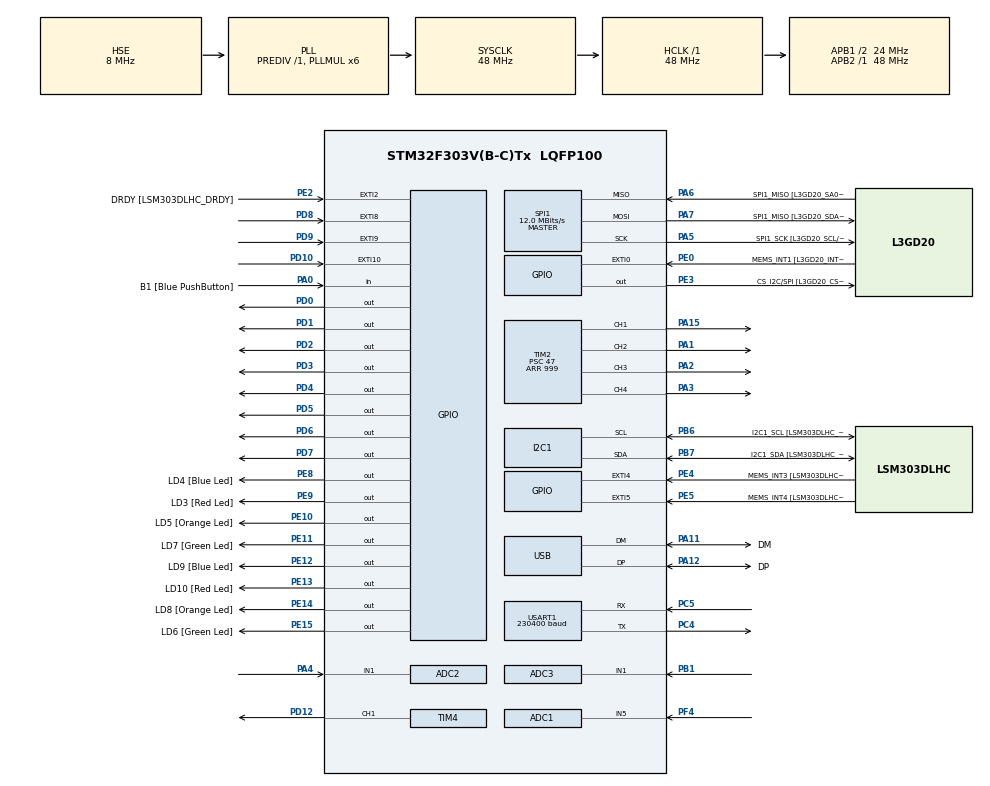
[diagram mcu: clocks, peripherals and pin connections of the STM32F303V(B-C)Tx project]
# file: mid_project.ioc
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ADC1.Channel-1\#ChannelRegularConversion=ADC_CHANNEL_5
ADC1.NbrOfConversionFlag=1
ADC1.Offset-1\#ChannelRegularConversion=0
ADC1.OffsetNumber-1\#ChannelRegularConversion=ADC_OFFSET_NONE
ADC1.Rank-1\#ChannelRegularConversion=1
ADC1.Resolution=ADC_RESOLUTION_10B
ADC1.SamplingTime-1\#ChannelRegularConversion=ADC_SAMPLETIME_601CYCLES_5
ADC1.SamplingTimeOPAMP-1\#ChannelRegularConversion=ADC_SAMPLETIME_19CYCLES_5
ADC1.master=1
ADC2.Channel-0\#ChannelRegularConversion=ADC_CHANNEL_1
ADC2.NbrOfConversionFlag=1
ADC2.Offset-0\#ChannelRegularConversion=0
ADC2.OffsetNumber-0\#ChannelRegularConversion=ADC_OFFSET_NONE
ADC2.Rank-0\#ChannelRegularConversion=1
ADC2.Resolution=ADC_RESOLUTION_10B
ADC2.SamplingTime-0\#ChannelRegularConversion=ADC_SAMPLETIME_601CYCLES_5
ADC2.SamplingTimeOPAMP-0\#ChannelRegularConversion=ADC_SAMPLETIME_19CYCLES_5
ADC3.Channel-0\#ChannelRegularConversion=ADC_CHANNEL_1
ADC3.NbrOfConversionFlag=1
ADC3.Offset-0\#ChannelRegularConversion=0
ADC3.OffsetNumber-0\#ChannelRegularConversion=ADC_OFFSET_NONE
ADC3.Rank-0\#ChannelRegularConversion=1
ADC3.Resolution=ADC_RESOLUTION_10B
ADC3.SamplingTime-0\#ChannelRegularConversion=ADC_SAMPLETIME_601CYCLES_5
ADC3.SamplingTimeOPAMP-0\#ChannelRegularConversion=ADC_SAMPLETIME_19CYCLES_5
ADC3.master=1
I2C1.Timing=0x2000090E
I2C1.Timing-I2C=0x2000090E
Mcu.Family=STM32F3
Mcu.Name=STM32F303V(B-C)Tx
Mcu.Package=LQFP100
NVIC.ADC1_2_IRQn=true\:1\:0\:true\:false\:true\:true\:true\:true
NVIC.ADC3_IRQn=true\:1\:0\:true\:false\:true\:true\:true\:true
NVIC.EXTI15_10_IRQn=true\:0\:0\:true\:false\:true\:true\:true\:true
NVIC.EXTI9_5_IRQn=true\:0\:0\:true\:false\:true\:true\:true\:true
NVIC.PriorityGroup=NVIC_PRIORITYGROUP_2
NVIC.TIM1_BRK_TIM15_IRQn=true\:1\:0\:true\:false\:true\:true\:true\:true
NVIC.TIM1_CC_IRQn=true\:1\:0\:true\:false\:true\:true\:true\:true
NVIC.TIM1_TRG_COM_TIM17_IRQn=true\:1\:0\:true\:false\:true\:true\:true\:true
NVIC.TIM1_UP_TIM16_IRQn=true\:1\:0\:true\:false\:true\:true\:true\:true
NVIC.TIM3_IRQn=true\:0\:0\:true\:false\:true\:true\:true\:true
NVIC.USART1_IRQn=true\:0\:0\:false\:false\:true\:true\:true\:true
NVIC.USB_LP_CAN_RX0_IRQn=true\:0\:0\:false\:false\:true\:true\:true\:true
PA0.GPIO_Label=B1 [Blue PushButton]
PA0.Signal=GPIO_Input
PA1.Signal=S_TIM2_CH2
PA11.GPIO_Label=DM
PA11.Mode=Device
PA11.Signal=USB_DM
PA12.GPIO_Label=DP
PA12.Mode=Device
PA12.Signal=USB_DP
PA13.GPIO_Label=SWDIO
PA13.Mode=Serial_Wire
PA13.Signal=SYS_JTMS-SWDIO
PA14.GPIO_Label=SWCLK
PA14.Mode=Serial_Wire
PA14.Signal=SYS_JTCK-SWCLK
PA15.Signal=S_TIM2_CH1_ETR
PA2.Signal=S_TIM2_CH3
PA3.Signal=S_TIM2_CH4
PA4.Mode=IN1-Single-Ended
PA4.Signal=ADC2_IN1
PA5.GPIO_Label=SPI1_SCK [L3GD20_SCL/SPC]
PA5.Mode=Full_Duplex_Master
PA5.Signal=SPI1_SCK
PA6.GPIO_Label=SPI1_MISO [L3GD20_SA0/SDO]
PA6.Mode=Full_Duplex_Master
PA6.Signal=SPI1_MISO
PA7.GPIO_Label=SPI1_MISO [L3GD20_SDA/SDI/SDO]
PA7.Mode=Full_Duplex_Master
PA7.Signal=SPI1_MOSI
PB1.Mode=IN1-Single-Ended
PB1.Signal=ADC3_IN1
PB3.GPIO_Label=SWO
PB3.Signal=SYS_JTDO-TRACESWO
PB6.GPIO_Label=I2C1_SCL [LSM303DLHC_SCL]
PB6.GPIO_Pu=GPIO_PULLUP
PB6.Mode=I2C
PB6.Signal=I2C1_SCL
PB7.GPIO_Label=I2C1_SDA [LSM303DLHC_SDA]
PB7.GPIO_Pu=GPIO_PULLUP
PB7.Mode=I2C
PB7.Signal=I2C1_SDA
PC14-OSC32_IN.GPIO_Label=OSC32_IN
PC14-OSC32_IN.Signal=RCC_OSC32_IN
PC15-OSC32_OUT.GPIO_Label=OSC32_OUT
PC15-OSC32_OUT.Signal=RCC_OSC32_OUT
PC4.Mode=Asynchronous
PC4.Signal=USART1_TX
PC5.Mode=Asynchronous
PC5.Signal=USART1_RX
PD0.Signal=GPIO_Output
PD1.Signal=GPIO_Output
PD10.GPIO_ModeDefaultEXTI=GPIO_MODE_IT_FALLING
PD10.GPIO_PuPd=GPIO_PULLUP
PD10.Signal=GPXTI10
PD12.Signal=S_TIM4_CH1
PD2.Signal=GPIO_Output
PD3.Signal=GPIO_Output
PD4.Signal=GPIO_Output
PD5.Signal=GPIO_Output
PD6.Signal=GPIO_Output
PD7.Signal=GPIO_Output
PD8.GPIO_ModeDefaultEXTI=GPIO_MODE_IT_FALLING
PD8.GPIO_PuPd=GPIO_PULLUP
PD8.Signal=GPXTI8
PD9.GPIO_ModeDefaultEXTI=GPIO_MODE_IT_FALLING
PD9.GPIO_PuPd=GPIO_PULLUP
PD9.Signal=GPXTI9
PE0.GPIO_Label=MEMS_INT1 [L3GD20_INT1]
PE0.GPIO_ModeDefaultEXTI=GPIO_MODE_EVT_RISING
PE0.Signal=GPXTI0
PE10.GPIO_Label=LD5 [Orange Led]
PE10.Signal=GPIO_Output
PE11.GPIO_Label=LD7 [Green Led]
PE11.Signal=GPIO_Output
PE12.GPIO_Label=LD9 [Blue Led]
PE12.Signal=GPIO_Output
PE13.GPIO_Label=LD10 [Red Led]
PE13.Signal=GPIO_Output
PE14.GPIO_Label=LD8 [Orange Led]
PE14.Signal=GPIO_Output
PE15.GPIO_Label=LD6 [Green Led]
PE15.Signal=GPIO_Output
PE2.GPIO_Label=DRDY [LSM303DLHC_DRDY]
PE2.GPIO_ModeDefaultEXTI=GPIO_MODE_EVT_RISING
PE2.Signal=GPXTI2
PE3.GPIO_Label=CS_I2C/SPI [L3GD20_CS_I2C/SPI]
PE3.Signal=GPIO_Output
PE4.GPIO_Label=MEMS_INT3 [LSM303DLHC_INT1]
PE4.GPIO_ModeDefaultEXTI=GPIO_MODE_EVT_RISING
PE4.Signal=GPXTI4
PE5.GPIO_Label=MEMS_INT4 [LSM303DLHC_INT2]
PE5.GPIO_ModeDefaultEXTI=GPIO_MODE_EVT_RISING
PE5.Signal=GPXTI5
PE8.GPIO_Label=LD4 [Blue Led]
PE8.Signal=GPIO_Output
PE9.GPIO_Label=LD3 [Red Led]
PE9.Signal=GPIO_Output
PF0-OSC_IN.GPIO_Label=OSC_IN
PF0-OSC_IN.Mode=HSE-External-Clock-Source
PF0-OSC_IN.Signal=RCC_OSC_IN
PF1-OSC_OUT.GPIO_Label=OSC_OUT
PF1-OSC_OUT.Signal=RCC_OSC_OUT
PF4.Mode=IN5-Single-Ended
PF4.Signal=ADC1_IN5
ProjectManager.HeapSize=0x200
ProjectManager.StackSize=0x400
ProjectManager.TargetToolchain=STM32CubeIDE
RCC.AHBFreq_Value=48000000
RCC.APB1CLKDivider=RCC_HCLK_DIV2
RCC.APB1Freq_Value=24000000
RCC.APB1TimFreq_Value=48000000
RCC.APB2Freq_Value=48000000
RCC.APB2TimFreq_Value=48000000
RCC.CortexFreq_Value=48000000
RCC.HCLKFreq_Value=48000000
RCC.HSE_VALUE=8000000
RCC.HSI_VALUE=8000000
RCC.LSE_VALUE=32768
RCC.PLLMUL=RCC_PLL_MUL6
RCC.SYSCLKFreq_VALUE=48000000
RCC.SYSCLKSourceVirtual=RCC_SYSCLKSOURCE_PLLCLK
RCC.USBFreq_Value=48000000
RTC.AsynchPrediv=39
RTC.Format=RTC_FORMAT_BIN
RTC.SynchPrediv=999
SH.S_TIM2_CH1_ETR.0=TIM2_CH1,PWM Generation1 CH1
SH.S_TIM2_CH2.0=TIM2_CH2,PWM Generation2 CH2
SH.S_TIM2_CH3.0=TIM2_CH3,PWM Generation3 CH3
SH.S_TIM2_CH4.0=TIM2_CH4,PWM Generation4 CH4
SH.S_TIM4_CH1.0=TIM4_CH1,PWM Generation1 CH1
SPI1.BaudRatePrescaler=SPI_BAUDRATEPRESCALER_4
SPI1.BaudRatePrescaler-Full_Duplex_Master=SPI_BAUDRATEPRESCALER_2
SPI1.CalculateBaudRate=12.0 MBits/s
SPI1.CalculateBaudRate-Full_Duplex_Master=24.0 MBits/s
SPI1.Direction=SPI_DIRECTION_2LINES
SPI1.Mode=SPI_MODE_MASTER
SPI1.Mode-Full_Duplex_Master=SPI_MODE_MASTER
SPI1.VirtualType=VM_MASTER
TIM1.Period=99
TIM1.Prescaler=479
TIM2.Channel-PWM\ Generation1\ CH1=TIM_CHANNEL_1
TIM2.Channel-PWM\ Generation2\ CH2=TIM_CHANNEL_2
TIM2.Channel-PWM\ Generation3\ CH3=TIM_CHANNEL_3
TIM2.Channel-PWM\ Generation4\ CH4=TIM_CHANNEL_4
TIM2.Period=999
TIM2.Prescaler=47
TIM3.Period=10000-1
TIM3.Prescaler=4800-1
TIM4.Channel-PWM\ Generation1\ CH1=TIM_CHANNEL_1
USART1.BaudRate=230400
USART1.VirtualMode-Asynchronous=VM_ASYNC
VP_RTC_VS_RTC_Activate.Mode=RTC_Enabled
VP_RTC_VS_RTC_Calendar.Mode=RTC_Calendar
VP_TIM1_VS_ClockSourceINT.Mode=Internal
VP_TIM2_VS_ClockSourceINT.Mode=Internal
VP_TIM3_VS_ClockSourceINT.Mode=Internal
VP_TIM4_VS_ClockSourceINT.Mode=Internal
board=STM32F3DISCOVERY

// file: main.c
/* USER CODE BEGIN Header */
/**
 ******************************************************************************
 * @file           : main.c
 * @brief          : Main program body
 ******************************************************************************
 * @attention
 *
 * Copyright (c) 2023 STMicroelectronics.
 * All rights reserved.
 *
 * This software is licensed under terms that can be found in the LICENSE file
 * in the root directory of this software component.
 * If no LICENSE file comes with this software, it is provided AS-IS.
 *
 ******************************************************************************
 */
/* USER CODE END Header */
#include "main.h"

/* USER CODE BEGIN Includes */
#include <stdbool.h>
#include "string.h"
#include <stdio.h>

/* USER CODE END Includes */

/* USER CODE BEGIN PTD */

typedef struct {
	GPIO_TypeDef *port;
	uint16_t pin;
} pin_type;

typedef struct {
	pin_type digit_activators[4];
	pin_type BCD_input[4];
	uint32_t digits[4];
	uint32_t number;
} seven_segment_type;

/* USER CODE END PTD */

ADC_HandleTypeDef hadc1;
ADC_HandleTypeDef hadc2;
ADC_HandleTypeDef hadc3;

I2C_HandleTypeDef hi2c1;

RTC_HandleTypeDef hrtc;

SPI_HandleTypeDef hspi1;

TIM_HandleTypeDef htim1;
TIM_HandleTypeDef htim2;
TIM_HandleTypeDef htim3;
TIM_HandleTypeDef htim4;

UART_HandleTypeDef huart1;

PCD_HandleTypeDef hpcd_USB_FS;

void SystemClock_Config(void);
static void MX_GPIO_Init(void);
static void MX_I2C1_Init(void);
static void MX_SPI1_Init(void);
static void MX_USB_PCD_Init(void);
static void MX_TIM2_Init(void);
static void MX_TIM4_Init(void);
static void MX_TIM1_Init(void);
static void MX_ADC1_Init(void);
static void MX_ADC2_Init(void);
static void MX_USART1_UART_Init(void);
static void MX_TIM3_Init(void);
static void MX_ADC3_Init(void);
static void MX_RTC_Init(void);

/* USER CODE BEGIN 0 */
extern FILE *fptr;
extern int wave;
extern int dim_step;
extern int LED_count;
extern seven_segment_type seven_segment;
extern int p_state;

RTC_TimeTypeDef myTime;
RTC_DateTypeDef myDate;
char timestr[30];

int uart_cnt = 0;
int volume_degree = 0;
int LDR_degree = 0;
int buzzer_volume = 12;
int sin_cnt = 0;
int square_cnt = 0;
int triangular_cnt = 200;
int init_LDR;
int threshold = 0;
int warnCount = 0;
int prev_volume_degree = 0;
int critical_LDR_deg;
int time_cnt = 1; // receiving time from python

double vol_buffer[100];
uint8_t vol_buffer_cnt = 0;

double LDR_buffer[50];
uint8_t LDR_buffer_cnt = 0;

char uart_buffer[50];
char ch;

bool volume_start = false;
bool active_buzzer = false;
bool isHigh = false;
bool isInit_LDR = true;
bool isInit_Volume = true;

void choose_wave()
{
	int high = 1000;
	int low = 200;

	switch (wave)
	{
	case 1: // sin wave
		sin_cnt++;
		int y = 800 * sin(sin_cnt / 200) + 900;
		PWM_Change_Tone(y, buzzer_volume);
		if (sin_cnt == 1256)
		{
			sin_cnt = 0;
		}
		break;
	case 2: // square wave
		square_cnt++;
		if (square_cnt % 1500 == 0)
		{
			isHigh = !isHigh;
		}
		if (isHigh)
		{
			PWM_Change_Tone(high, buzzer_volume);

		}
		else
		{
			PWM_Change_Tone(low, buzzer_volume);

		}

		break;
	case 3: // triangular wave
		if (triangular_cnt == high)
		{
			triangular_cnt = low;
		}
		triangular_cnt++;
		PWM_Change_Tone(triangular_cnt, buzzer_volume);

		break;
	}
}

void HAL_TIM_PeriodElapsedCallback(TIM_HandleTypeDef *htim)
{

	if (htim->Instance == TIM1)
	{
		programLoop();
		if (active_buzzer)
		{
			choose_wave();
		}

		HAL_ADC_Start_IT(&hadc2);
		HAL_ADC_Start_IT(&hadc3);
	}
}

void set_threshold()
{
	if(threshold > 200)
	{
		threshold = 200;
	}
	else if(threshold < 0)
	{
		threshold = 0;

	}
}

void HAL_ADC_ConvCpltCallback(ADC_HandleTypeDef *hadc)
{
	if (hadc->Instance == ADC2) // LDR
	{
		double LDR_deg = HAL_ADC_GetValue(&hadc2);

		LDR_buffer[LDR_buffer_cnt] = LDR_deg;
		LDR_buffer_cnt++;

		if(LDR_buffer_cnt == 50)
		{
			double sum_LDR = 0;
			for(int i = 0; i < 50; i++)
			{
				sum_LDR += LDR_buffer[i];
			}
			LDR_deg = sum_LDR / 50.0;
			LDR_buffer_cnt = 0;

			LDR_degree = (int) 200 * ((double)LDR_deg / 1023.0);

			if(isInit_LDR)
			{
				threshold = LDR_degree;
				board_LED_handler(1);
				isInit_LDR = false;
				seven_segment_set_num(threshold); // first time

			}
			else if(p_state == 1 && LDR_degree > threshold && !active_buzzer)
			{
				critical_LDR_deg = LDR_degree;
				active_buzzer = true;
				warnCount++;
				critical();
				HAL_RTC_GetDate(&hrtc, &myDate, RTC_FORMAT_BIN);
				HAL_RTC_GetTime(&hrtc, &myTime, RTC_FORMAT_BIN);
				uint32_t length = sprintf(timestr, "[INFO][%2d:%2d:%2d]\n", myTime.Hours, myTime.Minutes, myTime.Seconds);
				HAL_UART_Transmit(&huart1, timestr, length, HAL_MAX_DELAY);
				char log[50];
				int len = sprintf(log,"[WARN] Critical Situation. Light value: %d\n", critical_LDR_deg);
				HAL_UART_Transmit(&huart1, log, len, HAL_MAX_DELAY);
			}
			else if(active_buzzer && LDR_degree < threshold && p_state == 2)
			{
				uncritical();
				PWM_Change_Tone(0, 0);
				active_buzzer = false;
			}
		}
	}
	else if(hadc->Instance == ADC3) // Volume
	{

		uint16_t volume_deg = HAL_ADC_GetValue(&hadc3);

		vol_buffer[vol_buffer_cnt] = volume_deg;
		vol_buffer_cnt++;

		if(vol_buffer_cnt == 100)
		{
			double sum = 0;
			for(int i = 0; i < 100; i++)
			{
				sum += vol_buffer[i];
			}
			volume_deg = sum / 100.0;
			vol_buffer_cnt = 0;

			if(p_state == 0)
			{
				volume_degree = (int) (20 * ((double)volume_deg / 1023.0) - 10);

				if(isInit_Volume)
				{
					prev_volume_degree = volume_degree;
					isInit_Volume = false;
				}

				else if(volume_degree != prev_volume_degree)
				{
					threshold += 20 * (volume_degree - prev_volume_degree);
					prev_volume_degree = volume_degree;
					set_threshold();
					seven_segment_set_num(threshold);
				}

			}
			else if(p_state == 1)
			{
				volume_degree = (int) (200 * (volume_deg / 1023.0) - 100);
				LED_Intensity();
				LED_Handler();
			}

		}
	}
}

void check_init_data()
{
	char *curly_brkt1 = strchr(uart_buffer, '{' );
	int idx_curly_brkt1 = (int) (curly_brkt1 - uart_buffer);
	char *curly_brkt2 = strchr(uart_buffer, '}' );
	int idx_curly_brkt2 = (int) (curly_brkt2 - uart_buffer);

	char input_type = uart_buffer[1];

	bool error = true;

	if(idx_curly_brkt2 - idx_curly_brkt1 == 2 && 47 < *(curly_brkt1 + 1) && *(curly_brkt1 + 1) < 58)
	{

		char log[30];
		int len;
		error = false;

		switch(input_type)
		{
		case 'D':
			HAL_RTC_GetDate(&hrtc, &myDate, RTC_FORMAT_BIN);
			HAL_RTC_GetTime(&hrtc, &myTime, RTC_FORMAT_BIN);
			uint32_t length = sprintf(timestr, "[INFO][%2d:%2d:%2d]\n", myTime.Hours, myTime.Minutes, myTime.Seconds);
			HAL_UART_Transmit(&huart1, timestr, length, HAL_MAX_DELAY);

			dim_step = uart_buffer[11] - 48;
			len = sprintf(log,"DimStep = %d\n", dim_step);
			HAL_UART_Transmit(&huart1, log, len, HAL_MAX_DELAY);
			break;
		case 'L':
			LED_count = uart_buffer[10] - 48;
			if(0 <= LED_count && LED_count <= 4)
			{
				HAL_RTC_GetDate(&hrtc, &myDate, RTC_FORMAT_BIN);
				HAL_RTC_GetTime(&hrtc, &myTime, RTC_FORMAT_BIN);
				uint32_t length = sprintf(timestr, "[INFO][%2d:%2d:%2d]\n", myTime.Hours, myTime.Minutes, myTime.Seconds);
				HAL_UART_Transmit(&huart1, timestr, length, HAL_MAX_DELAY);

				len = sprintf(log,"Lights = %d\n", LED_count);
				HAL_UART_Transmit(&huart1, log, len, HAL_MAX_DELAY);
			}
			else
			{
				LED_count = 0;
				error = true;

			}

			break;
		case 'W':
			wave = uart_buffer[11] - 48;
			if(0 < wave && wave < 4)
			{
				HAL_RTC_GetDate(&hrtc, &myDate, RTC_FORMAT_BIN);
				HAL_RTC_GetTime(&hrtc, &myTime, RTC_FORMAT_BIN);
				uint32_t length = sprintf(timestr, "[INFO][%2d:%2d:%2d]\n", myTime.Hours, myTime.Minutes, myTime.Seconds);
				HAL_UART_Transmit(&huart1, timestr, length, HAL_MAX_DELAY);

				len = sprintf(log,"WarnNum = %d\n", wave);
				HAL_UART_Transmit(&huart1, log, len, HAL_MAX_DELAY);
			}
			else
			{
				wave = 1;
				error = true;
			}

			break;
		}

	}
	if(error)
	{
		HAL_RTC_GetDate(&hrtc, &myDate, RTC_FORMAT_BIN);
		HAL_RTC_GetTime(&hrtc, &myTime, RTC_FORMAT_BIN);
		uint32_t length = sprintf(timestr, "[INFO][%2d:%2d:%2d]\n", myTime.Hours, myTime.Minutes, myTime.Seconds);
		HAL_UART_Transmit(&huart1, timestr, length, HAL_MAX_DELAY);

		char error[30];
		int len = sprintf(error,"[ERR] Not valid Value\n");
		HAL_UART_Transmit(&huart1, error, len, HAL_MAX_DELAY);

	}

}

void HAL_UART_RxCpltCallback(UART_HandleTypeDef *huart)
{
	uart_buffer[uart_cnt] = ch;
	uart_cnt++;

	if(ch == ' ' && time_cnt < 4)
	{
		if(time_cnt == 1) // hour
		{
			myTime.Hours = (uart_cnt == 3) ? ((uart_buffer[0] - 48) * 10 + (uart_buffer[1] - 48)) : (uart_buffer[0] - 48);

		}
		else if(time_cnt == 2) // minute
		{
			myTime.Minutes = (uart_cnt == 3) ? ((uart_buffer[0] - 48) * 10 + (uart_buffer[1] - 48)) : (uart_buffer[0] - 48);

		}
		else if(time_cnt == 3) // second
		{
			myTime.Seconds = (uart_cnt == 3) ? ((uart_buffer[0] - 48) * 10 + (uart_buffer[1] - 48)) : (uart_buffer[0] - 48);
			myDate.Year = 23;
			myDate.Month = 6;
			myDate.Date = 5;

			HAL_RTC_SetTime(&hrtc, &myTime, RTC_FORMAT_BIN);
			HAL_RTC_SetDate(&hrtc, &myDate, RTC_FORMAT_BIN);

		}
		uart_cnt = 0;
		time_cnt++;
	}
	else if(ch == ' ')
	{
		uart_cnt = 0;
		check_init_data();
	}

	HAL_UART_Receive_IT(&huart1, &ch, 1);

}

/* USER CODE END 0 */

int main(void)
{

  /* MCU Configuration--------------------------------------------------------*/

  /* Reset of all peripherals, Initializes the Flash interface and the Systick. */
  HAL_Init();

  /* Configure the system clock */
  SystemClock_Config();

  /* Initialize all configured peripherals */
  MX_GPIO_Init();
  MX_I2C1_Init();
  MX_SPI1_Init();
  MX_USB_PCD_Init();
  MX_TIM2_Init();
  MX_TIM4_Init();
  MX_TIM1_Init();
  MX_ADC1_Init();
  MX_ADC2_Init();
  MX_USART1_UART_Init();
  MX_TIM3_Init();
  MX_ADC3_Init();
  MX_RTC_Init();
  /* USER CODE BEGIN 2 */

	PWM_Start();
	HAL_TIM_PWM_Start(&htim2, TIM_CHANNEL_1);	//PA1
	HAL_TIM_PWM_Start(&htim2, TIM_CHANNEL_2);	//PA2
	HAL_TIM_PWM_Start(&htim2, TIM_CHANNEL_3);	//PA3
	HAL_TIM_PWM_Start(&htim2, TIM_CHANNEL_4);	//PA15

	HAL_TIM_Base_Start_IT(&htim1);
	HAL_TIM_Base_Start_IT(&htim3);

	HAL_ADC_Start_IT(&hadc1);
	HAL_ADC_Start_IT(&hadc2);
	HAL_ADC_Start_IT(&hadc3);

	HAL_UART_Receive_IT(&huart1, &ch, 1);

  /* USER CODE END 2 */

  /* Infinite loop */
	while (1)
	{

	}
}

void SystemClock_Config(void)
{
  RCC_OscInitTypeDef RCC_OscInitStruct = {0};
  RCC_ClkInitTypeDef RCC_ClkInitStruct = {0};
  RCC_PeriphCLKInitTypeDef PeriphClkInit = {0};

  /** Initializes the RCC Oscillators according to the specified parameters
  * in the RCC_OscInitTypeDef structure.
  */
  RCC_OscInitStruct.OscillatorType = RCC_OSCILLATORTYPE_HSI|RCC_OSCILLATORTYPE_LSI
                              |RCC_OSCILLATORTYPE_HSE;
  RCC_OscInitStruct.HSEState = RCC_HSE_BYPASS;
  RCC_OscInitStruct.HSEPredivValue = RCC_HSE_PREDIV_DIV1;
  RCC_OscInitStruct.HSIState = RCC_HSI_ON;
  RCC_OscInitStruct.HSICalibrationValue = RCC_HSICALIBRATION_DEFAULT;
  RCC_OscInitStruct.LSIState = RCC_LSI_ON;
  RCC_OscInitStruct.PLL.PLLState = RCC_PLL_ON;
  RCC_OscInitStruct.PLL.PLLSource = RCC_PLLSOURCE_HSE;
  RCC_OscInitStruct.PLL.PLLMUL = RCC_PLL_MUL6;
  if (HAL_RCC_OscConfig(&RCC_OscInitStruct) != HAL_OK)
  {
    Error_Handler();
  }

  /** Initializes the CPU, AHB and APB buses clocks
  */
  RCC_ClkInitStruct.ClockType = RCC_CLOCKTYPE_HCLK|RCC_CLOCKTYPE_SYSCLK
                              |RCC_CLOCKTYPE_PCLK1|RCC_CLOCKTYPE_PCLK2;
  RCC_ClkInitStruct.SYSCLKSource = RCC_SYSCLKSOURCE_PLLCLK;
  RCC_ClkInitStruct.AHBCLKDivider = RCC_SYSCLK_DIV1;
  RCC_ClkInitStruct.APB1CLKDivider = RCC_HCLK_DIV2;
  RCC_ClkInitStruct.APB2CLKDivider = RCC_HCLK_DIV1;

  if (HAL_RCC_ClockConfig(&RCC_ClkInitStruct, FLASH_LATENCY_1) != HAL_OK)
  {
    Error_Handler();
  }
  PeriphClkInit.PeriphClockSelection = RCC_PERIPHCLK_USB|RCC_PERIPHCLK_USART1
                              |RCC_PERIPHCLK_I2C1|RCC_PERIPHCLK_RTC
                              |RCC_PERIPHCLK_TIM1|RCC_PERIPHCLK_ADC12
                              |RCC_PERIPHCLK_ADC34;
  PeriphClkInit.Usart1ClockSelection = RCC_USART1CLKSOURCE_PCLK2;
  PeriphClkInit.Adc12ClockSelection = RCC_ADC12PLLCLK_DIV1;
  PeriphClkInit.Adc34ClockSelection = RCC_ADC34PLLCLK_DIV1;
  PeriphClkInit.I2c1ClockSelection = RCC_I2C1CLKSOURCE_HSI;
  PeriphClkInit.RTCClockSelection = RCC_RTCCLKSOURCE_LSI;
  PeriphClkInit.USBClockSelection = RCC_USBCLKSOURCE_PLL;
  PeriphClkInit.Tim1ClockSelection = RCC_TIM1CLK_HCLK;
  if (HAL_RCCEx_PeriphCLKConfig(&PeriphClkInit) != HAL_OK)
  {
    Error_Handler();
  }
}

static void MX_ADC1_Init(void)
{

  ADC_MultiModeTypeDef multimode = {0};
  ADC_ChannelConfTypeDef sConfig = {0};

  /** Common config
  */
  hadc1.Instance = ADC1;
  hadc1.Init.ClockPrescaler = ADC_CLOCK_ASYNC_DIV1;
  hadc1.Init.Resolution = ADC_RESOLUTION_10B;
  hadc1.Init.ScanConvMode = ADC_SCAN_DISABLE;
  hadc1.Init.ContinuousConvMode = DISABLE;
  hadc1.Init.DiscontinuousConvMode = DISABLE;
  hadc1.Init.ExternalTrigConvEdge = ADC_EXTERNALTRIGCONVEDGE_NONE;
  hadc1.Init.ExternalTrigConv = ADC_SOFTWARE_START;
  hadc1.Init.DataAlign = ADC_DATAALIGN_RIGHT;
  hadc1.Init.NbrOfConversion = 1;
  hadc1.Init.DMAContinuousRequests = DISABLE;
  hadc1.Init.EOCSelection = ADC_EOC_SINGLE_CONV;
  hadc1.Init.LowPowerAutoWait = DISABLE;
  hadc1.Init.Overrun = ADC_OVR_DATA_OVERWRITTEN;
  if (HAL_ADC_Init(&hadc1) != HAL_OK)
  {
    Error_Handler();
  }

  /** Configure the ADC multi-mode
  */
  multimode.Mode = ADC_MODE_INDEPENDENT;
  if (HAL_ADCEx_MultiModeConfigChannel(&hadc1, &multimode) != HAL_OK)
  {
    Error_Handler();
  }

  /** Configure Regular Channel
  */
  sConfig.Channel = ADC_CHANNEL_5;
  sConfig.Rank = ADC_REGULAR_RANK_1;
  sConfig.SingleDiff = ADC_SINGLE_ENDED;
  sConfig.SamplingTime = ADC_SAMPLETIME_601CYCLES_5;
  sConfig.OffsetNumber = ADC_OFFSET_NONE;
  sConfig.Offset = 0;
  if (HAL_ADC_ConfigChannel(&hadc1, &sConfig) != HAL_OK)
  {
    Error_Handler();
  }

}

static void MX_ADC2_Init(void)
{

  ADC_ChannelConfTypeDef sConfig = {0};

  /** Common config
  */
  hadc2.Instance = ADC2;
  hadc2.Init.ClockPrescaler = ADC_CLOCK_ASYNC_DIV1;
  hadc2.Init.Resolution = ADC_RESOLUTION_10B;
  hadc2.Init.ScanConvMode = ADC_SCAN_DISABLE;
  hadc2.Init.ContinuousConvMode = DISABLE;
  hadc2.Init.DiscontinuousConvMode = DISABLE;
  hadc2.Init.ExternalTrigConvEdge = ADC_EXTERNALTRIGCONVEDGE_NONE;
  hadc2.Init.ExternalTrigConv = ADC_SOFTWARE_START;
  hadc2.Init.DataAlign = ADC_DATAALIGN_RIGHT;
  hadc2.Init.NbrOfConversion = 1;
  hadc2.Init.DMAContinuousRequests = DISABLE;
  hadc2.Init.EOCSelection = ADC_EOC_SINGLE_CONV;
  hadc2.Init.LowPowerAutoWait = DISABLE;
  hadc2.Init.Overrun = ADC_OVR_DATA_OVERWRITTEN;
  if (HAL_ADC_Init(&hadc2) != HAL_OK)
  {
    Error_Handler();
  }

  /** Configure Regular Channel
  */
  sConfig.Channel = ADC_CHANNEL_1;
  sConfig.Rank = ADC_REGULAR_RANK_1;
  sConfig.SingleDiff = ADC_SINGLE_ENDED;
  sConfig.SamplingTime = ADC_SAMPLETIME_601CYCLES_5;
  sConfig.OffsetNumber = ADC_OFFSET_NONE;
  sConfig.Offset = 0;
  if (HAL_ADC_ConfigChannel(&hadc2, &sConfig) != HAL_OK)
  {
    Error_Handler();
  }

}

static void MX_ADC3_Init(void)
{

  ADC_MultiModeTypeDef multimode = {0};
  ADC_ChannelConfTypeDef sConfig = {0};

  /** Common config
  */
  hadc3.Instance = ADC3;
  hadc3.Init.ClockPrescaler = ADC_CLOCK_ASYNC_DIV1;
  hadc3.Init.Resolution = ADC_RESOLUTION_10B;
  hadc3.Init.ScanConvMode = ADC_SCAN_DISABLE;
  hadc3.Init.ContinuousConvMode = DISABLE;
  hadc3.Init.DiscontinuousConvMode = DISABLE;
  hadc3.Init.ExternalTrigConvEdge = ADC_EXTERNALTRIGCONVEDGE_NONE;
  hadc3.Init.ExternalTrigConv = ADC_SOFTWARE_START;
  hadc3.Init.DataAlign = ADC_DATAALIGN_RIGHT;
  hadc3.Init.NbrOfConversion = 1;
  hadc3.Init.DMAContinuousRequests = DISABLE;
  hadc3.Init.EOCSelection = ADC_EOC_SINGLE_CONV;
  hadc3.Init.LowPowerAutoWait = DISABLE;
  hadc3.Init.Overrun = ADC_OVR_DATA_OVERWRITTEN;
  if (HAL_ADC_Init(&hadc3) != HAL_OK)
  {
    Error_Handler();
  }

  /** Configure the ADC multi-mode
  */
  multimode.Mode = ADC_MODE_INDEPENDENT;
  if (HAL_ADCEx_MultiModeConfigChannel(&hadc3, &multimode) != HAL_OK)
  {
    Error_Handler();
  }

  /** Configure Regular Channel
  */
  sConfig.Channel = ADC_CHANNEL_1;
  sConfig.Rank = ADC_REGULAR_RANK_1;
  sConfig.SingleDiff = ADC_SINGLE_ENDED;
  sConfig.SamplingTime = ADC_SAMPLETIME_601CYCLES_5;
  sConfig.OffsetNumber = ADC_OFFSET_NONE;
  sConfig.Offset = 0;
  if (HAL_ADC_ConfigChannel(&hadc3, &sConfig) != HAL_OK)
  {
    Error_Handler();
  }

}

static void MX_I2C1_Init(void)
{

  hi2c1.Instance = I2C1;
  hi2c1.Init.Timing = 0x2000090E;
  hi2c1.Init.OwnAddress1 = 0;
  hi2c1.Init.AddressingMode = I2C_ADDRESSINGMODE_7BIT;
  hi2c1.Init.DualAddressMode = I2C_DUALADDRESS_DISABLE;
  hi2c1.Init.OwnAddress2 = 0;
  hi2c1.Init.OwnAddress2Masks = I2C_OA2_NOMASK;
  hi2c1.Init.GeneralCallMode = I2C_GENERALCALL_DISABLE;
  hi2c1.Init.NoStretchMode = I2C_NOSTRETCH_DISABLE;
  if (HAL_I2C_Init(&hi2c1) != HAL_OK)
  {
    Error_Handler();
  }

  /** Configure Analogue filter
  */
  if (HAL_I2CEx_ConfigAnalogFilter(&hi2c1, I2C_ANALOGFILTER_ENABLE) != HAL_OK)
  {
    Error_Handler();
  }

  /** Configure Digital filter
  */
  if (HAL_I2CEx_ConfigDigitalFilter(&hi2c1, 0) != HAL_OK)
  {
    Error_Handler();
  }

}

static void MX_RTC_Init(void)
{

  RTC_TimeTypeDef sTime = {0};
  RTC_DateTypeDef sDate = {0};

  /** Initialize RTC Only
  */
  hrtc.Instance = RTC;
  hrtc.Init.HourFormat = RTC_HOURFORMAT_24;
  hrtc.Init.AsynchPrediv = 39;
  hrtc.Init.SynchPrediv = 999;
  hrtc.Init.OutPut = RTC_OUTPUT_DISABLE;
  hrtc.Init.OutPutPolarity = RTC_OUTPUT_POLARITY_HIGH;
  hrtc.Init.OutPutType = RTC_OUTPUT_TYPE_OPENDRAIN;
  if (HAL_RTC_Init(&hrtc) != HAL_OK)
  {
    Error_Handler();
  }

  /** Initialize RTC and set the Time and Date
  */
  sTime.Hours = 0;
  sTime.Minutes = 0;
  sTime.Seconds = 0;
  sTime.DayLightSaving = RTC_DAYLIGHTSAVING_NONE;
  sTime.StoreOperation = RTC_STOREOPERATION_RESET;
  if (HAL_RTC_SetTime(&hrtc, &sTime, RTC_FORMAT_BIN) != HAL_OK)
  {
    Error_Handler();
  }
  sDate.WeekDay = RTC_WEEKDAY_MONDAY;
  sDate.Month = RTC_MONTH_JANUARY;
  sDate.Date = 1;
  sDate.Year = 0;

  if (HAL_RTC_SetDate(&hrtc, &sDate, RTC_FORMAT_BIN) != HAL_OK)
  {
    Error_Handler();
  }

}

static void MX_SPI1_Init(void)
{

  /* SPI1 parameter configuration*/
  hspi1.Instance = SPI1;
  hspi1.Init.Mode = SPI_MODE_MASTER;
  hspi1.Init.Direction = SPI_DIRECTION_2LINES;
  hspi1.Init.DataSize = SPI_DATASIZE_4BIT;
  hspi1.Init.CLKPolarity = SPI_POLARITY_LOW;
  hspi1.Init.CLKPhase = SPI_PHASE_1EDGE;
  hspi1.Init.NSS = SPI_NSS_SOFT;
  hspi1.Init.BaudRatePrescaler = SPI_BAUDRATEPRESCALER_4;
  hspi1.Init.FirstBit = SPI_FIRSTBIT_MSB;
  hspi1.Init.TIMode = SPI_TIMODE_DISABLE;
  hspi1.Init.CRCCalculation = SPI_CRCCALCULATION_DISABLE;
  hspi1.Init.CRCPolynomial = 7;
  hspi1.Init.CRCLength = SPI_CRC_LENGTH_DATASIZE;
  hspi1.Init.NSSPMode = SPI_NSS_PULSE_ENABLE;
  if (HAL_SPI_Init(&hspi1) != HAL_OK)
  {
    Error_Handler();
  }

}

static void MX_TIM1_Init(void)
{

  TIM_ClockConfigTypeDef sClockSourceConfig = {0};
  TIM_MasterConfigTypeDef sMasterConfig = {0};

  htim1.Instance = TIM1;
  htim1.Init.Prescaler = 479;
  htim1.Init.CounterMode = TIM_COUNTERMODE_UP;
  htim1.Init.Period = 99;
  htim1.Init.ClockDivision = TIM_CLOCKDIVISION_DIV1;
  htim1.Init.RepetitionCounter = 0;
  htim1.Init.AutoReloadPreload = TIM_AUTORELOAD_PRELOAD_DISABLE;
  if (HAL_TIM_Base_Init(&htim1) != HAL_OK)
  {
    Error_Handler();
  }
  sClockSourceConfig.ClockSource = TIM_CLOCKSOURCE_INTERNAL;
  if (HAL_TIM_ConfigClockSource(&htim1, &sClockSourceConfig) != HAL_OK)
  {
    Error_Handler();
  }
  sMasterConfig.MasterOutputTrigger = TIM_TRGO_RESET;
  sMasterConfig.MasterOutputTrigger2 = TIM_TRGO2_RESET;
  sMasterConfig.MasterSlaveMode = TIM_MASTERSLAVEMODE_DISABLE;
  if (HAL_TIMEx_MasterConfigSynchronization(&htim1, &sMasterConfig) != HAL_OK)
  {
    Error_Handler();
  }

}

static void MX_TIM2_Init(void)
{

  TIM_ClockConfigTypeDef sClockSourceConfig = {0};
  TIM_MasterConfigTypeDef sMasterConfig = {0};
  TIM_OC_InitTypeDef sConfigOC = {0};

  htim2.Instance = TIM2;
  htim2.Init.Prescaler = 47;
  htim2.Init.CounterMode = TIM_COUNTERMODE_UP;
  htim2.Init.Period = 999;
  htim2.Init.ClockDivision = TIM_CLOCKDIVISION_DIV1;
  htim2.Init.AutoReloadPreload = TIM_AUTORELOAD_PRELOAD_DISABLE;
  if (HAL_TIM_Base_Init(&htim2) != HAL_OK)
  {
    Error_Handler();
  }
  sClockSourceConfig.ClockSource = TIM_CLOCKSOURCE_INTERNAL;
  if (HAL_TIM_ConfigClockSource(&htim2, &sClockSourceConfig) != HAL_OK)
  {
    Error_Handler();
  }
  if (HAL_TIM_PWM_Init(&htim2) != HAL_OK)
  {
    Error_Handler();
  }
  sMasterConfig.MasterOutputTrigger = TIM_TRGO_RESET;
  sMasterConfig.MasterSlaveMode = TIM_MASTERSLAVEMODE_DISABLE;
  if (HAL_TIMEx_MasterConfigSynchronization(&htim2, &sMasterConfig) != HAL_OK)
  {
    Error_Handler();
  }
  sConfigOC.OCMode = TIM_OCMODE_PWM1;
  sConfigOC.Pulse = 0;
  sConfigOC.OCPolarity = TIM_OCPOLARITY_HIGH;
  sConfigOC.OCFastMode = TIM_OCFAST_DISABLE;
  if (HAL_TIM_PWM_ConfigChannel(&htim2, &sConfigOC, TIM_CHANNEL_1) != HAL_OK)
  {
    Error_Handler();
  }
  if (HAL_TIM_PWM_ConfigChannel(&htim2, &sConfigOC, TIM_CHANNEL_2) != HAL_OK)
  {
    Error_Handler();
  }
  if (HAL_TIM_PWM_ConfigChannel(&htim2, &sConfigOC, TIM_CHANNEL_3) != HAL_OK)
  {
    Error_Handler();
  }
  if (HAL_TIM_PWM_ConfigChannel(&htim2, &sConfigOC, TIM_CHANNEL_4) != HAL_OK)
  {
    Error_Handler();
  }
  HAL_TIM_MspPostInit(&htim2);

}

static void MX_TIM3_Init(void)
{

  TIM_ClockConfigTypeDef sClockSourceConfig = {0};
  TIM_MasterConfigTypeDef sMasterConfig = {0};

  htim3.Instance = TIM3;
  htim3.Init.Prescaler = 4800-1;
  htim3.Init.CounterMode = TIM_COUNTERMODE_UP;
  htim3.Init.Period = 10000-1;
  htim3.Init.ClockDivision = TIM_CLOCKDIVISION_DIV1;
  htim3.Init.AutoReloadPreload = TIM_AUTORELOAD_PRELOAD_DISABLE;
  if (HAL_TIM_Base_Init(&htim3) != HAL_OK)
  {
    Error_Handler();
  }
  sClockSourceConfig.ClockSource = TIM_CLOCKSOURCE_INTERNAL;
  if (HAL_TIM_ConfigClockSource(&htim3, &sClockSourceConfig) != HAL_OK)
  {
    Error_Handler();
  }
  sMasterConfig.MasterOutputTrigger = TIM_TRGO_RESET;
  sMasterConfig.MasterSlaveMode = TIM_MASTERSLAVEMODE_DISABLE;
  if (HAL_TIMEx_MasterConfigSynchronization(&htim3, &sMasterConfig) != HAL_OK)
  {
    Error_Handler();
  }

}

static void MX_TIM4_Init(void)
{

  TIM_ClockConfigTypeDef sClockSourceConfig = {0};
  TIM_MasterConfigTypeDef sMasterConfig = {0};
  TIM_OC_InitTypeDef sConfigOC = {0};

  htim4.Instance = TIM4;
  htim4.Init.Prescaler = 0;
  htim4.Init.CounterMode = TIM_COUNTERMODE_UP;
  htim4.Init.Period = 65535;
  htim4.Init.ClockDivision = TIM_CLOCKDIVISION_DIV1;
  htim4.Init.AutoReloadPreload = TIM_AUTORELOAD_PRELOAD_DISABLE;
  if (HAL_TIM_Base_Init(&htim4) != HAL_OK)
  {
    Error_Handler();
  }
  sClockSourceConfig.ClockSource = TIM_CLOCKSOURCE_INTERNAL;
  if (HAL_TIM_ConfigClockSource(&htim4, &sClockSourceConfig) != HAL_OK)
  {
    Error_Handler();
  }
  if (HAL_TIM_PWM_Init(&htim4) != HAL_OK)
  {
    Error_Handler();
  }
  sMasterConfig.MasterOutputTrigger = TIM_TRGO_RESET;
  sMasterConfig.MasterSlaveMode = TIM_MASTERSLAVEMODE_DISABLE;
  if (HAL_TIMEx_MasterConfigSynchronization(&htim4, &sMasterConfig) != HAL_OK)
  {
    Error_Handler();
  }
  sConfigOC.OCMode = TIM_OCMODE_PWM1;
  sConfigOC.Pulse = 0;
  sConfigOC.OCPolarity = TIM_OCPOLARITY_HIGH;
  sConfigOC.OCFastMode = TIM_OCFAST_DISABLE;
  if (HAL_TIM_PWM_ConfigChannel(&htim4, &sConfigOC, TIM_CHANNEL_1) != HAL_OK)
  {
    Error_Handler();
  }
  HAL_TIM_MspPostInit(&htim4);

}

static void MX_USART1_UART_Init(void)
{

  huart1.Instance = USART1;
  huart1.Init.BaudRate = 230400;
  huart1.Init.WordLength = UART_WORDLENGTH_8B;
  huart1.Init.StopBits = UART_STOPBITS_1;
  huart1.Init.Parity = UART_PARITY_NONE;
  huart1.Init.Mode = UART_MODE_TX_RX;
  huart1.Init.HwFlowCtl = UART_HWCONTROL_NONE;
  huart1.Init.OverSampling = UART_OVERSAMPLING_16;
  huart1.Init.OneBitSampling = UART_ONE_BIT_SAMPLE_DISABLE;
  huart1.AdvancedInit.AdvFeatureInit = UART_ADVFEATURE_NO_INIT;
  if (HAL_UART_Init(&huart1) != HAL_OK)
  {
    Error_Handler();
  }

}

static void MX_USB_PCD_Init(void)
{

  hpcd_USB_FS.Instance = USB;
  hpcd_USB_FS.Init.dev_endpoints = 8;
  hpcd_USB_FS.Init.speed = PCD_SPEED_FULL;
  hpcd_USB_FS.Init.phy_itface = PCD_PHY_EMBEDDED;
  hpcd_USB_FS.Init.low_power_enable = DISABLE;
  hpcd_USB_FS.Init.battery_charging_enable = DISABLE;
  if (HAL_PCD_Init(&hpcd_USB_FS) != HAL_OK)
  {
    Error_Handler();
  }

}

static void MX_GPIO_Init(void)
{
  GPIO_InitTypeDef GPIO_InitStruct = {0};

  /* GPIO Ports Clock Enable */
  __HAL_RCC_GPIOE_CLK_ENABLE();
  __HAL_RCC_GPIOC_CLK_ENABLE();
  __HAL_RCC_GPIOF_CLK_ENABLE();
  __HAL_RCC_GPIOA_CLK_ENABLE();
  __HAL_RCC_GPIOB_CLK_ENABLE();
  __HAL_RCC_GPIOD_CLK_ENABLE();

  /*Configure GPIO pin Output Level */
  HAL_GPIO_WritePin(GPIOE, CS_I2C_SPI_Pin|LD4_Pin|LD3_Pin|LD5_Pin
                          |LD7_Pin|LD9_Pin|LD10_Pin|LD8_Pin
                          |LD6_Pin, GPIO_PIN_RESET);

  /*Configure GPIO pin Output Level */
  HAL_GPIO_WritePin(GPIOD, GPIO_PIN_0|GPIO_PIN_1|GPIO_PIN_2|GPIO_PIN_3
                          |GPIO_PIN_4|GPIO_PIN_5|GPIO_PIN_6|GPIO_PIN_7, GPIO_PIN_RESET);

  /*Configure GPIO pins : DRDY_Pin MEMS_INT3_Pin MEMS_INT4_Pin MEMS_INT1_Pin */
  GPIO_InitStruct.Pin = DRDY_Pin|MEMS_INT3_Pin|MEMS_INT4_Pin|MEMS_INT1_Pin;
  GPIO_InitStruct.Mode = GPIO_MODE_EVT_RISING;
  GPIO_InitStruct.Pull = GPIO_NOPULL;
  HAL_GPIO_Init(GPIOE, &GPIO_InitStruct);

  /*Configure GPIO pins : CS_I2C_SPI_Pin LD4_Pin LD3_Pin LD5_Pin
                           LD7_Pin LD9_Pin LD10_Pin LD8_Pin
                           LD6_Pin */
  GPIO_InitStruct.Pin = CS_I2C_SPI_Pin|LD4_Pin|LD3_Pin|LD5_Pin
                          |LD7_Pin|LD9_Pin|LD10_Pin|LD8_Pin
                          |LD6_Pin;
  GPIO_InitStruct.Mode = GPIO_MODE_OUTPUT_PP;
  GPIO_InitStruct.Pull = GPIO_NOPULL;
  GPIO_InitStruct.Speed = GPIO_SPEED_FREQ_LOW;
  HAL_GPIO_Init(GPIOE, &GPIO_InitStruct);

  /*Configure GPIO pin : B1_Pin */
  GPIO_InitStruct.Pin = B1_Pin;
  GPIO_InitStruct.Mode = GPIO_MODE_INPUT;
  GPIO_InitStruct.Pull = GPIO_NOPULL;
  HAL_GPIO_Init(B1_GPIO_Port, &GPIO_InitStruct);

  /*Configure GPIO pins : PD8 PD9 PD10 */
  GPIO_InitStruct.Pin = GPIO_PIN_8|GPIO_PIN_9|GPIO_PIN_10;
  GPIO_InitStruct.Mode = GPIO_MODE_IT_FALLING;
  GPIO_InitStruct.Pull = GPIO_PULLUP;
  HAL_GPIO_Init(GPIOD, &GPIO_InitStruct);

  /*Configure GPIO pins : PD0 PD1 PD2 PD3
                           PD4 PD5 PD6 PD7 */
  GPIO_InitStruct.Pin = GPIO_PIN_0|GPIO_PIN_1|GPIO_PIN_2|GPIO_PIN_3
                          |GPIO_PIN_4|GPIO_PIN_5|GPIO_PIN_6|GPIO_PIN_7;
  GPIO_InitStruct.Mode = GPIO_MODE_OUTPUT_PP;
  GPIO_InitStruct.Pull = GPIO_NOPULL;
  GPIO_InitStruct.Speed = GPIO_SPEED_FREQ_LOW;
  HAL_GPIO_Init(GPIOD, &GPIO_InitStruct);

  /* EXTI interrupt init*/
  HAL_NVIC_SetPriority(EXTI9_5_IRQn, 0, 0);
  HAL_NVIC_EnableIRQ(EXTI9_5_IRQn);

  HAL_NVIC_SetPriority(EXTI15_10_IRQn, 0, 0);
  HAL_NVIC_EnableIRQ(EXTI15_10_IRQn);

}

void Error_Handler(void)
{
	__disable_irq();
	while (1) {
	}
}
